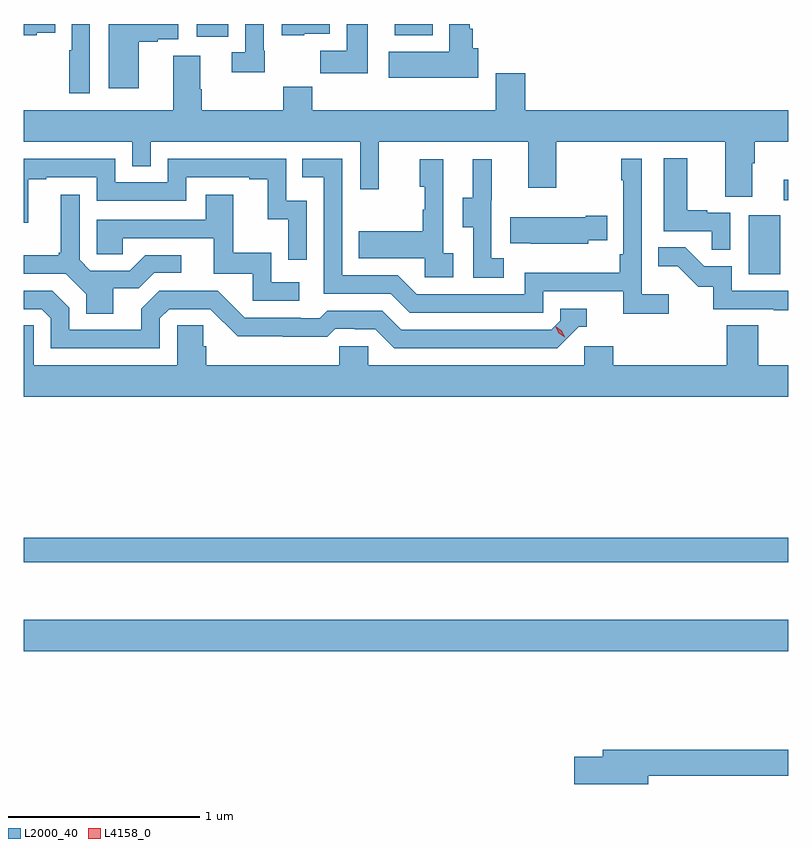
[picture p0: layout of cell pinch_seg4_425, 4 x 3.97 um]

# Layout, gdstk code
import gdstk
lib = gdstk.Library(unit=1e-6, precision=1e-09)
def R(c, l, rs):  # rectangles x0, y0, x1, y1
    for r in rs: c.add(gdstk.rectangle(r[:2], r[2:], *l))
def P(c, l, *ps):  # polygons
    for p in ps: c.add(gdstk.Polygon(p, *l))
L2000_40 = (2000, 40)
L4158_0 = (4158, 0)

pinch_seg4_425 = lib.new_cell('pinch_seg4_425')
R(pinch_seg4_425, L2000_40, [(914.371,779.504,918.371,779.668), (914.371,779.97,918.371,780.098), (918.164,781.476,918.328,781.783), (918.345,781.863,918.371,781.969), (915.278,782.718,915.442,782.784), (916.313,782.726,916.51,782.784)])
P(pinch_seg4_425, L2000_40, [(916.171,782.784),(916.061,782.784),(916.061,782.644),(915.922,782.644),(915.922,782.526),(916.171,782.526)],
  [(914.718,782.784),(914.622,782.784),(914.622,782.648),(914.61,782.648),(914.61,782.421),(914.718,782.421)],
  [(915.84,782.732),(915.973,782.732),(915.973,782.784),(915.722,782.784),(915.722,782.726),(915.84,782.726)],
  [(916.75,782.658),(916.72,782.658),(916.72,782.758),(916.705,782.758),(916.705,782.784),(916.598,782.784),(916.598,782.638),(916.281,782.638),(916.281,782.504),(916.75,782.504)],
  [(914.974,782.691),(915.074,782.691),(915.074,782.703),(915.18,782.703),(915.18,782.784),(914.816,782.784),(914.816,782.448),(914.974,782.448)],
  [(914.439,782.737),(914.537,782.737),(914.537,782.784),(914.371,782.784),(914.371,782.726),(914.439,782.726)],
  [(915.632,782.644),(915.627,782.644),(915.627,782.784),(915.531,782.784),(915.531,782.637),(915.459,782.637),(915.459,782.532),(915.632,782.532)],
  [(918.181,782.056),(918.194,782.056),(918.194,782.168),(918.371,782.168),(918.371,782.332),(916.994,782.332),(916.994,782.527),(916.841,782.527),(916.841,782.332),(915.881,782.332),(915.881,782.456),(915.73,782.456),(915.73,782.332),(915.303,782.332),(915.303,782.444),(915.295,782.444),(915.295,782.618),(915.155,782.618),(915.155,782.332),(914.371,782.332),(914.371,782.168),(914.94,782.168),(914.94,782.041),(915.036,782.041),(915.036,782.168),(916.131,782.168),(916.131,781.92),(916.229,781.92),(916.229,782.168),(917.009,782.168),(917.009,781.929),(917.157,781.929),(917.157,782.168),(918.041,782.168),(918.041,781.882),(918.181,781.882)],
  [(918.066,781.797),(917.945,781.797),(917.945,781.81),(917.842,781.81),(917.842,782.083),(917.72,782.083),(917.72,781.701),(917.971,781.701),(917.971,781.603),(918.066,781.603)],
  [(917.746,781.372),(917.604,781.372),(917.604,782.08),(917.496,782.08),(917.496,781.967),(917.508,781.967),(917.508,781.579),(917.488,781.579),(917.488,781.483),(916.992,781.483),(916.992,781.371),(916.428,781.371),(916.329,781.47),(916.038,781.47),(916.038,782.079),(915.829,782.079),(915.829,781.983),(915.942,781.983),(915.942,781.374),(916.292,781.374),(916.391,781.275),(917.088,781.275),(917.088,781.386),(917.507,781.386),(917.507,781.27),(917.746,781.27)],
  [(915.852,781.86),(915.744,781.86),(915.744,782.079),(915.126,782.079),(915.126,781.956),(914.85,781.956),(914.85,782.079),(914.371,782.079),(914.371,781.745),(914.395,781.745),(914.395,781.971),(914.491,781.971),(914.491,781.983),(914.754,781.983),(914.754,781.86),(915.222,781.86),(915.222,781.983),(915.551,781.983),(915.551,781.971),(915.647,781.971),(915.647,781.763),(915.756,781.763),(915.756,781.551),(915.852,781.551)],
  [(916.882,781.559),(916.818,781.559),(916.818,781.863),(916.82,781.863),(916.82,782.077),(916.721,782.077),(916.721,781.875),(916.667,781.875),(916.667,781.72),(916.722,781.72),(916.722,781.456),(916.882,781.456)],
  [(916.618,781.586),(916.566,781.586),(916.566,782.077),(916.442,782.077),(916.442,781.932),(916.468,781.932),(916.468,781.814),(916.458,781.814),(916.458,781.699),(916.123,781.699),(916.123,781.559),(916.47,781.559),(916.47,781.461),(916.618,781.461)],
  [(915.814,781.434),(915.666,781.434),(915.666,781.588),(915.467,781.588),(915.467,781.891),(915.323,781.891),(915.323,781.761),(914.754,781.761),(914.754,781.581),(914.891,781.581),(914.891,781.665),(915.365,781.665),(915.365,781.479),(915.57,781.479),(915.57,781.338),(915.814,781.338)],
  [(914.839,781.402),(914.974,781.402),(915.054,781.482),(915.196,781.482),(915.196,781.575),(915.008,781.575),(914.927,781.494),(914.721,781.494),(914.664,781.551),(914.664,781.891),(914.567,781.891),(914.567,781.588),(914.556,781.588),(914.556,781.576),(914.371,781.576),(914.371,781.479),(914.592,781.479),(914.699,781.372),(914.699,781.27),(914.839,781.27)],
  [(917.325,781.652),(917.423,781.652),(917.423,781.782),(917.312,781.782),(917.312,781.774),(916.915,781.774),(916.915,781.637),(917.023,781.637),(917.023,781.634),(917.325,781.634)],
  [(918.371,781.389),(918.075,781.389),(918.075,781.518),(917.93,781.518),(917.832,781.616),(917.689,781.616),(917.689,781.517),(917.793,781.517),(917.9,781.41),(917.977,781.41),(917.977,781.293),(918.295,781.293),(918.295,781.288),(918.371,781.288)],
  [(915.084,781.245),(915.132,781.293),(915.348,781.293),(915.49,781.151),(915.726,781.151),(915.726,781.149),(915.959,781.149),(916.001,781.191),(916.104,781.191),(916.104,781.188),(916.211,781.188),(916.31,781.089),(917.163,781.089),(917.274,781.2),(917.317,781.2),(917.317,781.296),(917.178,781.296),(917.178,781.233),(917.13,781.185),(916.347,781.185),(916.248,781.284),(915.959,781.284),(915.92,781.245),(915.821,781.245),(915.821,781.248),(915.528,781.248),(915.387,781.389),(915.081,781.389),(914.987,781.295),(914.987,781.185),(914.61,781.185),(914.61,781.299),(914.52,781.389),(914.371,781.389),(914.371,781.293),(914.466,781.293),(914.514,781.245),(914.514,781.089),(915.084,781.089)],
  [(918.371,781),(918.212,781),(918.212,781.208),(918.047,781.208),(918.047,781),(917.456,781),(917.456,781.098),(917.304,781.098),(917.304,781),(916.173,781),(916.173,781.098),(916.023,781.098),(916.023,781),(915.326,781),(915.326,781.098),(915.311,781.098),(915.311,781.208),(915.174,781.208),(915.174,781),(914.424,781),(914.424,781.208),(914.371,781.208),(914.371,780.836),(918.371,780.836)],
  [(917.638,778.852),(918.371,778.852),(918.371,778.988),(917.399,778.988),(917.399,778.952),(917.25,778.952),(917.25,778.81),(917.638,778.81)])
P(pinch_seg4_425, L4158_0, [(917.201,781.147),(917.171,781.167),(917.155,781.2),(917.155,781.2),(917.156,781.2),(917.186,781.18),(917.201,781.147),(917.201,781.147)])

lib.write_gds('pinch_seg4_425.gds')
